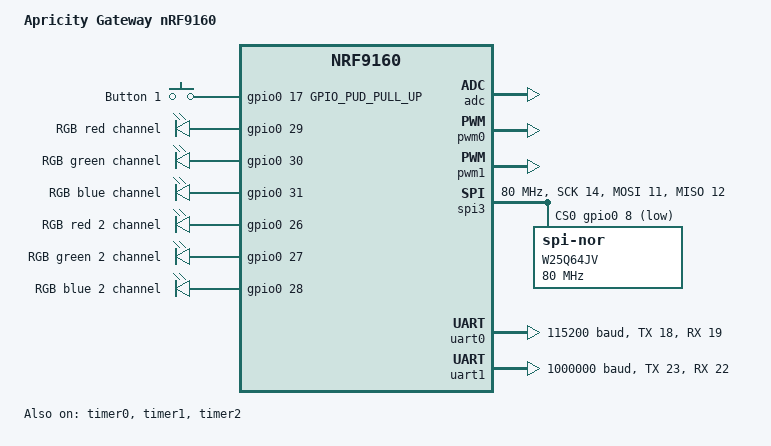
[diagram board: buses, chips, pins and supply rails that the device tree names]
/*
 * Copyright (c) 2020 Nordic Semiconductor ASA
 *
 * SPDX-License-Identifier: LicenseRef-BSD-5-Clause-Nordic
 */

/ {
	model = "Apricity Gateway nRF9160";
	compatible = "apricity,apricity-gateway-nrf9160";

	chosen {
		zephyr,console = &uart0;
		zephyr,shell-uart = &uart0;
		zephyr,uart-mcumgr = &uart0;
	};

	buttons {
		compatible = "gpio-keys";

		button0: button_0 {
			gpios = <&gpio0 17 GPIO_PUD_PULL_UP>;
			label = "Button 1";
		};
	};

	leds {
		compatible = "gpio-leds";
		red_led: led_1 {
			gpios = <&gpio0 29 0>;
			label = "RGB red channel";
		};
		green_led: led_2 {
			gpios = <&gpio0 30 0>;
			label = "RGB green channel";
		};
		blue_led: led_3 {
			gpios = <&gpio0 31 0>;
			label = "RGB blue channel";
		};
		red_led_2: led_4 {
			gpios = <&gpio0 26 0>;
			label = "RGB red 2 channel";
		};
		green_led_2: led_5 {
			gpios = <&gpio0 27 0>;
			label = "RGB green 2 channel";
		};
		blue_led_2: led_6 {
			gpios = <&gpio0 28 0>;
			label = "RGB blue 2 channel";
		};
	};

	aliases {
		sw0 = &button0;
		led0 = &red_led;
		led1 = &green_led;
		led2 = &blue_led;
		led0-1 = &red_led_2;
		led1-1 = &green_led_2;
		led2-1 = &blue_led_2;
		rgb-pwm = &pwm0;
		rgb2-pwm = &pwm1;
	};
};

&adc {
	status = "okay";
};

&gpiote {
	status = "okay";
};

&gpio0 {
	status = "okay";
};

/* PWM0 is intended for RGB LED control */
&pwm0 {
	status = "okay";
	ch0-pin = <29>;
	ch0-inverted;
	ch1-pin = <30>;
	ch1-inverted;
	ch2-pin = <31>;
	ch2-inverted;
};

/* PWM1 is intended for RGB LED control */
&pwm1 {
	status = "okay";
	ch0-pin = <26>;
	ch0-inverted;
	ch1-pin = <27>;
	ch1-inverted;
	ch2-pin = <28>;
	ch2-inverted;
};

&spi3 {
	compatible = "nordic,nrf-spim";
	status = "okay";
	clock-frequency = <80000000>;
	sck-pin = <14>;
	mosi-pin = <11>;
	miso-pin = <12>;
	cs-gpios = <&gpio0 8 1>;
	w25q64jv: w25q64jv@0 {
		compatible = "jedec,spi-nor";
		status = "okay";
		label = "W25Q64JV";
		reg = <0>;
		spi-max-frequency = <80000000>;
		size = <0x4000000>;
		jedec-id = [ef 40 17];
		has-be32k;
	};
};

&timer0 {
	status = "okay";
};

&timer1 {
	status = "okay";
};

&timer2 {
	status = "okay";
};

&uart0 {
	compatible = "nordic,nrf-uarte";
	current-speed = <115200>;
	status = "okay";
	tx-pin = <18>;
	rx-pin = <19>;
	rts-pin = <20>;
	cts-pin = <21>;
};

&uart1 {
	compatible = "nordic,nrf-uarte";
	current-speed = <1000000>;
	status = "okay";
	tx-pin = <23>;
	rx-pin = <22>;
	rts-pin = <25>;
	cts-pin = <24>;
};

&flash0 {
	/*
	 * For more information, see:
	 * http://docs.zephyrproject.org/devices/dts/flash_partitions.html
	 */
	partitions {
		compatible = "fixed-partitions";
		#address-cells = <1>;
		#size-cells = <1>;

		boot_partition: partition@0 {
			label = "mcuboot";
			reg = <0x00000000 0x10000>;
		};
		slot0_partition: partition@10000 {
			label = "image-0";
		};
		slot0_ns_partition: partition@40000 {
			label = "image-0-nonsecure";
		};
		slot1_partition: partition@80000 {
			label = "image-1";
		};
		slot1_ns_partition: partition@b0000 {
			label = "image-1-nonsecure";
		};
		scratch_partition: partition@f0000 {
			label = "image-scratch";
			reg = <0x000f0000 0xa000>;
		};
		storage_partition: partition@fa000 {
			label = "storage";
			reg = <0x000fa000 0x00006000>;
		};
	};
};

/ {
	/* SRAM allocated and used by the BSD library */
	sram0_bsd: memory@20010000 {
		device_type = "memory";
		compatible = "mmio-sram";
	};

	/* SRAM allocated to the Non-Secure image */
	sram0_ns: memory@20020000 {
		device_type = "memory";
		compatible = "mmio-sram";
	};
};

/* Include partition configuration file */
#include "apricity_gateway_nrf9160_partition_conf.dts"
